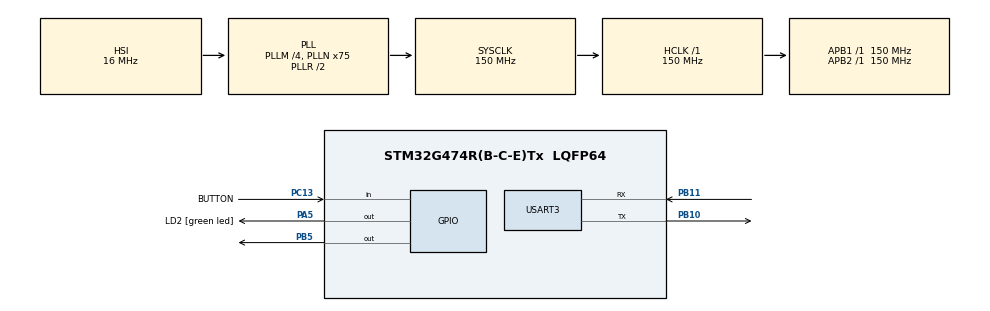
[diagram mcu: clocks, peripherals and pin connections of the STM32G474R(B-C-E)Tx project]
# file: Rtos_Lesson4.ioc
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FREERTOS.INCLUDE_pcTaskGetTaskName=1
FREERTOS.INCLUDE_uxTaskGetStackHighWaterMark2=1
FREERTOS.INCLUDE_vTaskCleanUpResources=1
FREERTOS.INCLUDE_xSemaphoreGetMutexHolder=1
FREERTOS.INCLUDE_xTaskGetHandle=1
FREERTOS.Queues01=myQueue01,10,uint16_t,0,Dynamic,NULL,NULL
FREERTOS.Tasks01=defaultTask,24,128,StartDefaultTask,Default,NULL,Dynamic,NULL,NULL;_vRecieverLD2,24,128,vRecieverLD2_Func,Default,NULL,Dynamic,NULL,NULL;_vReceiverYELLOW,24,128,_vReceiverYELLOW_Func,Default,NULL,Dynamic,NULL,NULL
FREERTOS.Timers01=myTimer01,Callback01,osTimerPeriodic,Default,NULL,Dynamic,NULL
FREERTOS.configENABLE_FPU=1
FREERTOS.configGENERATE_RUN_TIME_STATS=1
FREERTOS.configMAX_TASK_NAME_LEN=32
FREERTOS.configRECORD_STACK_HIGH_ADDRESS=1
FREERTOS.configTOTAL_HEAP_SIZE=9216
FREERTOS.configUSE_MALLOC_FAILED_HOOK=1
FREERTOS.configUSE_NEWLIB_REENTRANT=1
FREERTOS.configUSE_STATS_FORMATTING_FUNCTIONS=1
FREERTOS.configUSE_TRACE_FACILITY=1
IWDG.Prescaler=IWDG_PRESCALER_64
IWDG.Reload=2300
Mcu.Family=STM32G4
Mcu.Name=STM32G474R(B-C-E)Tx
Mcu.Package=LQFP64
NVIC.PriorityGroup=NVIC_PRIORITYGROUP_4
NVIC.TIM1_TRG_COM_TIM17_IRQn=true\:15\:0\:false\:false\:true\:false\:false\:true\:true
NVIC.TimeBase=TIM1_TRG_COM_TIM17_IRQn
NVIC.TimeBaseIP=TIM17
PA13.GPIO_Label=T_SWDIO
PA13.Mode=Trace_Asynchronous_SW
PA13.Signal=SYS_JTMS-SWDIO
PA14.GPIO_Label=T_SWCLK
PA14.Mode=Trace_Asynchronous_SW
PA14.Signal=SYS_JTCK-SWCLK
PA2.GPIO_Label=LPUART1_TX [STLINKV3E_VCP_RX]
PA2.Signal=LPUART1_TX
PA3.GPIO_Label=LPUART1_RX [STLINKV3E_VCP_TX]
PA3.Signal=LPUART1_RX
PA5.GPIO_Label=LD2 [green led]
PA5.Signal=GPIO_Output
PB10.Mode=Asynchronous
PB10.Signal=USART3_TX
PB11.Mode=Asynchronous
PB11.Signal=USART3_RX
PB3.GPIO_Label=T_SWO
PB3.Mode=Trace_Asynchronous_SW
PB3.Signal=SYS_JTDO-SWO
PB5.Signal=GPIO_Output
PC13.GPIO_Label=BUTTON
PC13.Signal=GPIO_Input
PC14-OSC32_IN.Mode=LSE-External-Oscillator
PC14-OSC32_IN.Signal=RCC_OSC32_IN
PC15-OSC32_OUT.Mode=LSE-External-Oscillator
PC15-OSC32_OUT.Signal=RCC_OSC32_OUT
PF0-OSC_IN.Mode=HSE-External-Oscillator
PF0-OSC_IN.Signal=RCC_OSC_IN
PF1-OSC_OUT.Mode=HSE-External-Oscillator
PF1-OSC_OUT.Signal=RCC_OSC_OUT
ProjectManager.HeapSize=0x200
ProjectManager.StackSize=0x400
ProjectManager.TargetToolchain=STM32CubeIDE
RCC.ADC12Freq_Value=150000000
RCC.ADC345Freq_Value=150000000
RCC.AHBFreq_Value=150000000
RCC.APB1Freq_Value=150000000
RCC.APB1TimFreq_Value=150000000
RCC.APB2Freq_Value=150000000
RCC.APB2TimFreq_Value=150000000
RCC.CortexFreq_Value=150000000
RCC.EXTERNAL_CLOCK_VALUE=12288000
RCC.HCLKFreq_Value=150000000
RCC.HSE_VALUE=24000000
RCC.HSI48_VALUE=48000000
RCC.HSI_VALUE=16000000
RCC.PLLM=RCC_PLLM_DIV4
RCC.PLLN=75
RCC.RTCClockSelection=RCC_RTCCLKSOURCE_LSE
RCC.SYSCLKFreq_VALUE=150000000
RCC.SYSCLKSource=RCC_SYSCLKSOURCE_PLLCLK
RCC.USBFreq_Value=150000000
RCC.VCOOutputFreq_Value=300000000
USART3.AutoBaudRateEnableParam=UART_ADVFEATURE_AUTOBAUDRATE_DISABLE
USART3.DataInvertParam=ADVFEATURE_DATAINV_DISABLE
USART3.MSBFirstParam=ADVFEATURE_MSBFIRST_DISABLE
USART3.Parity=PARITY_NONE
USART3.VirtualMode-Asynchronous=VM_ASYNC
VP_FREERTOS_VS_CMSIS_V2.Mode=CMSIS_V2
VP_IWDG_VS_IWDG.Mode=IWDG_Activate
VP_SYS_VS_DBSignals.Mode=DisableDeadBatterySignals
VP_SYS_VS_tim17.Mode=TIM17
board=NUCLEO-G474RE

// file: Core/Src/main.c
/* USER CODE BEGIN Header */
/**
 ******************************************************************************
 * @file           : main.c
 * @brief          : Main program body
 ******************************************************************************
 * @attention
 *
 * Copyright (c) 2023 STMicroelectronics.
 * All rights reserved.
 *
 * This software is licensed under terms that can be found in the LICENSE file
 * in the root directory of this software component.
 * If no LICENSE file comes with this software, it is provided AS-IS.
 *
 ******************************************************************************
 */
/* USER CODE END Header */
#include "main.h"
#include "cmsis_os.h"
#include "iwdg.h"
#include "usart.h"
#include "gpio.h"

/* USER CODE BEGIN PD */
/* Количество интервальных таймеров */
#define NUMBER_OF_TIMERS 3

/* Целочисленные идентификаторы интервальных таймеров */
#define ID_TIMER_1 111
#define ID_TIMER_2 222
#define ID_TIMER_3 333

/* USER CODE END PD */

/* USER CODE BEGIN PV */
char char_buffer[100] = { '0' };
uint16_t hiwdgPeriodReload = 4095;

/* USER CODE END PV */

void SystemClock_Config(void);
void MX_FREERTOS_Init(void);

int main(void)
{

  /* MCU Configuration--------------------------------------------------------*/

  /* Reset of all peripherals, Initializes the Flash interface and the Systick. */
  HAL_Init();

  /* Configure the system clock */
  SystemClock_Config();

  /* Initialize all configured peripherals */
  MX_GPIO_Init();
  MX_USART3_UART_Init();
  MX_IWDG_Init();

  /* Init scheduler */
  osKernelInitialize();  /* Call init function for freertos objects (in freertos.c) */
  MX_FREERTOS_Init();

  /* Start scheduler */
  osKernelStart();
  /* We should never get here as control is now taken by the scheduler */
  /* Infinite loop */
  while (1) {

  }
}

void SystemClock_Config(void)
{
  RCC_OscInitTypeDef RCC_OscInitStruct = {0};
  RCC_ClkInitTypeDef RCC_ClkInitStruct = {0};

  /** Configure the main internal regulator output voltage
  */
  HAL_PWREx_ControlVoltageScaling(PWR_REGULATOR_VOLTAGE_SCALE1);

  /** Initializes the RCC Oscillators according to the specified parameters
  * in the RCC_OscInitTypeDef structure.
  */
  RCC_OscInitStruct.OscillatorType = RCC_OSCILLATORTYPE_HSI|RCC_OSCILLATORTYPE_LSI;
  RCC_OscInitStruct.HSIState = RCC_HSI_ON;
  RCC_OscInitStruct.HSICalibrationValue = RCC_HSICALIBRATION_DEFAULT;
  RCC_OscInitStruct.LSIState = RCC_LSI_ON;
  RCC_OscInitStruct.PLL.PLLState = RCC_PLL_ON;
  RCC_OscInitStruct.PLL.PLLSource = RCC_PLLSOURCE_HSI;
  RCC_OscInitStruct.PLL.PLLM = RCC_PLLM_DIV4;
  RCC_OscInitStruct.PLL.PLLN = 75;
  RCC_OscInitStruct.PLL.PLLP = RCC_PLLP_DIV2;
  RCC_OscInitStruct.PLL.PLLQ = RCC_PLLQ_DIV2;
  RCC_OscInitStruct.PLL.PLLR = RCC_PLLR_DIV2;
  if (HAL_RCC_OscConfig(&RCC_OscInitStruct) != HAL_OK)
  {
    Error_Handler();
  }

  /** Initializes the CPU, AHB and APB buses clocks
  */
  RCC_ClkInitStruct.ClockType = RCC_CLOCKTYPE_HCLK|RCC_CLOCKTYPE_SYSCLK
                              |RCC_CLOCKTYPE_PCLK1|RCC_CLOCKTYPE_PCLK2;
  RCC_ClkInitStruct.SYSCLKSource = RCC_SYSCLKSOURCE_PLLCLK;
  RCC_ClkInitStruct.AHBCLKDivider = RCC_SYSCLK_DIV1;
  RCC_ClkInitStruct.APB1CLKDivider = RCC_HCLK_DIV1;
  RCC_ClkInitStruct.APB2CLKDivider = RCC_HCLK_DIV1;

  if (HAL_RCC_ClockConfig(&RCC_ClkInitStruct, FLASH_LATENCY_4) != HAL_OK)
  {
    Error_Handler();
  }
}

/* USER CODE BEGIN 4 */
void vPrintStringAndNumber(uint32_t value) {
  snprintf(char_buffer, sizeof(char_buffer), "\nValue: %ld\n", value);
  HAL_UART_Transmit(&huart3, (uint8_t*) char_buffer, strlen(char_buffer),
  HAL_MAX_DELAY);
}

/* USER CODE END 4 */

void HAL_TIM_PeriodElapsedCallback(TIM_HandleTypeDef *htim)
{
  if (htim->Instance == TIM17) {
    HAL_IncTick();
  }
}

void Error_Handler(void)
{
  __disable_irq();
  while (1) {
  }
}

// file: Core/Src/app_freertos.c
/* USER CODE BEGIN Header */
/**
 ******************************************************************************
 * File Name          : app_freertos.c
 * Description        : Code for freertos applications
 ******************************************************************************
 * @attention
 *
 * Copyright (c) 2023 STMicroelectronics.
 * All rights reserved.
 *
 * This software is licensed under terms that can be found in the LICENSE file
 * in the root directory of this software component.
 * If no LICENSE file comes with this software, it is provided AS-IS.
 *
 ******************************************************************************
 */
/* USER CODE END Header */

#include "FreeRTOS.h"
#include "task.h"
#include "main.h"
#include "cmsis_os.h"

/* USER CODE BEGIN Includes */
#include "timers.h"
#include "usart.h"
#include "gpio.h"
#include "string.h"
/* USER CODE END Includes */

/* USER CODE BEGIN Variables */
struct Period_t {
  uint32_t LD2_Period;
  uint32_t YELLOW_Period;

} Led = { 1000, 50

};
uint16_t vPeriod = 1000;
uint32_t key_status = 0x0;
uint32_t LedStatus = 0x1;
BaseType_t xHigherPriorityTaskWoken = pdFALSE;
/* USER CODE END Variables */
/* Definitions for defaultTask */
osThreadId_t defaultTaskHandle;
const osThreadAttr_t defaultTask_attributes = { .name = "defaultTask",
    .priority = (osPriority_t) osPriorityNormal, .stack_size = 128 * 4 };
/* Definitions for _vRecieverLD2 */
osThreadId_t _vRecieverLD2Handle;
const osThreadAttr_t _vRecieverLD2_attributes = { .name = "_vRecieverLD2",
    .priority = (osPriority_t) osPriorityNormal, .stack_size = 128 * 4 };
/* Definitions for _vReceiverYELLOW */
osThreadId_t _vReceiverYELLOWHandle;
const osThreadAttr_t _vReceiverYELLOW_attributes = { .name = "_vReceiverYELLOW",
    .priority = (osPriority_t) osPriorityNormal, .stack_size = 128 * 4 };
/* Definitions for myQueue01 */
osMessageQueueId_t myQueue01Handle;
const osMessageQueueAttr_t myQueue01_attributes = { .name = "myQueue01" };
/* Definitions for myTimer01 */
osTimerId_t myTimer01Handle;
const osTimerAttr_t myTimer01_attributes = { .name = "myTimer01" };

/* USER CODE BEGIN FunctionPrototypes */
extern void vPrintStringAndNumber(uint32_t value);
/* USER CODE END FunctionPrototypes */

void StartDefaultTask(void *argument);
void vRecieverLD2_Func(void *argument);
void _vReceiverYELLOW_Func(void *argument);
void Callback01(void *argument);

void MX_FREERTOS_Init(void); /* (MISRA C 2004 rule 8.1) */

/* Hook prototypes */
void configureTimerForRunTimeStats(void);
unsigned long getRunTimeCounterValue(void);
void vApplicationMallocFailedHook(void);

/* USER CODE BEGIN 1 */
/* Functions needed when configGENERATE_RUN_TIME_STATS is on */
__weak void configureTimerForRunTimeStats(void) {

}

__weak unsigned long getRunTimeCounterValue(void) {
  return xTaskGetTickCount();
}

/* USER CODE END 1 */

/* USER CODE BEGIN 5 */
void vApplicationMallocFailedHook(void) {
  /* vApplicationMallocFailedHook() will only be called if
   configUSE_MALLOC_FAILED_HOOK is set to 1 in FreeRTOSConfig.h. It is a hook
   function that will get called if a call to pvPortMalloc() fails.
   pvPortMalloc() is called internally by the kernel whenever a task, queue,
   timer or semaphore is created. It is also called by various parts of the
   demo application. If heap_1.c or heap_2.c are used, then the size of the
   heap available to pvPortMalloc() is defined by configTOTAL_HEAP_SIZE in
   FreeRTOSConfig.h, and the xPortGetFreeHeapSize() API function can be used
   to query the size of free heap space that remains (although it does not
   provide information on how the remaining heap might be fragmented). */
}
/* USER CODE END 5 */

void MX_FREERTOS_Init(void) {

  /* Create the timer(s) */
  /* creation of myTimer01 */
  myTimer01Handle = osTimerNew(Callback01, osTimerPeriodic, NULL,
      &myTimer01_attributes);

  /* Create the queue(s) */
  /* creation of myQueue01 */
  myQueue01Handle = osMessageQueueNew(10, sizeof(uint16_t),
      &myQueue01_attributes);

  /* Create the thread(s) */
  /* creation of defaultTask */
  defaultTaskHandle = osThreadNew(StartDefaultTask, NULL,
      &defaultTask_attributes);

  /* creation of _vRecieverLD2 */
  _vRecieverLD2Handle = osThreadNew(vRecieverLD2_Func, NULL,
      &_vRecieverLD2_attributes);

  /* creation of _vReceiverYELLOW */
  _vReceiverYELLOWHandle = osThreadNew(_vReceiverYELLOW_Func, NULL,
      &_vReceiverYELLOW_attributes);

}

void StartDefaultTask(void *argument) {
  /* USER CODE BEGIN StartDefaultTask */
  /* Infinite loop */

  if (xTimerChangePeriod(myTimer01Handle, 4000 / portTICK_PERIOD_MS,
      0) == pdPASS) {
    xTimerStart(myTimer01Handle, 0);
    vPrintStringAndNumber(xTaskGetTickCount() / configTICK_RATE_HZ);
    for (;;) {

      osDelay(1);
    }
  }
  //osThreadYield();
  /* USER CODE END StartDefaultTask */
}

void vRecieverLD2_Func(void *argument) {
  /* USER CODE BEGIN vRecieverLD2_Func */
  /* Infinite loop */
  for (;;) {
    HAL_GPIO_TogglePin(GPIOA, GPIO_PIN_5);
    osDelay(Led.LD2_Period);
  }
  /* USER CODE END vRecieverLD2_Func */
}

void _vReceiverYELLOW_Func(void *argument) {
  /* USER CODE BEGIN _vReceiverYELLOW_Func */
  /* Infinite loop */
  for (;;) {
    HAL_GPIO_TogglePin(Yellow_GPIO_Port, Yellow_Pin);
    osDelay(Led.YELLOW_Period);
  }
  /* USER CODE END _vReceiverYELLOW_Func */
}

/* Callback01 function */
void Callback01(void *argument) {
  /* USER CODE BEGIN Callback01 */

  Led.YELLOW_Period = 1000;
  Led.LD2_Period = 50;
  IWDG->KR = 0xAAAA;
  if (xTimerIsTimerActive(myTimer01Handle)) {
    xTimerChangePeriodFromISR(myTimer01Handle, pdMS_TO_TICKS( 500 ),
        &xHigherPriorityTaskWoken);
  }
  vPrintStringAndNumber(xTimerGetPeriod(myTimer01Handle));
  char *statistic;
  statistic = pvPortMalloc(1024);
  if (statistic) {
    vTaskGetRunTimeStats(statistic);
    // HAL_UART_Transmit(&huart3, (uint8_t*) statistic, strlen(statistic),
//    HAL_MAX_DELAY
//    );
    vPortFree(statistic);
    osThreadYield();
  }

  /* USER CODE END Callback01 */
}
